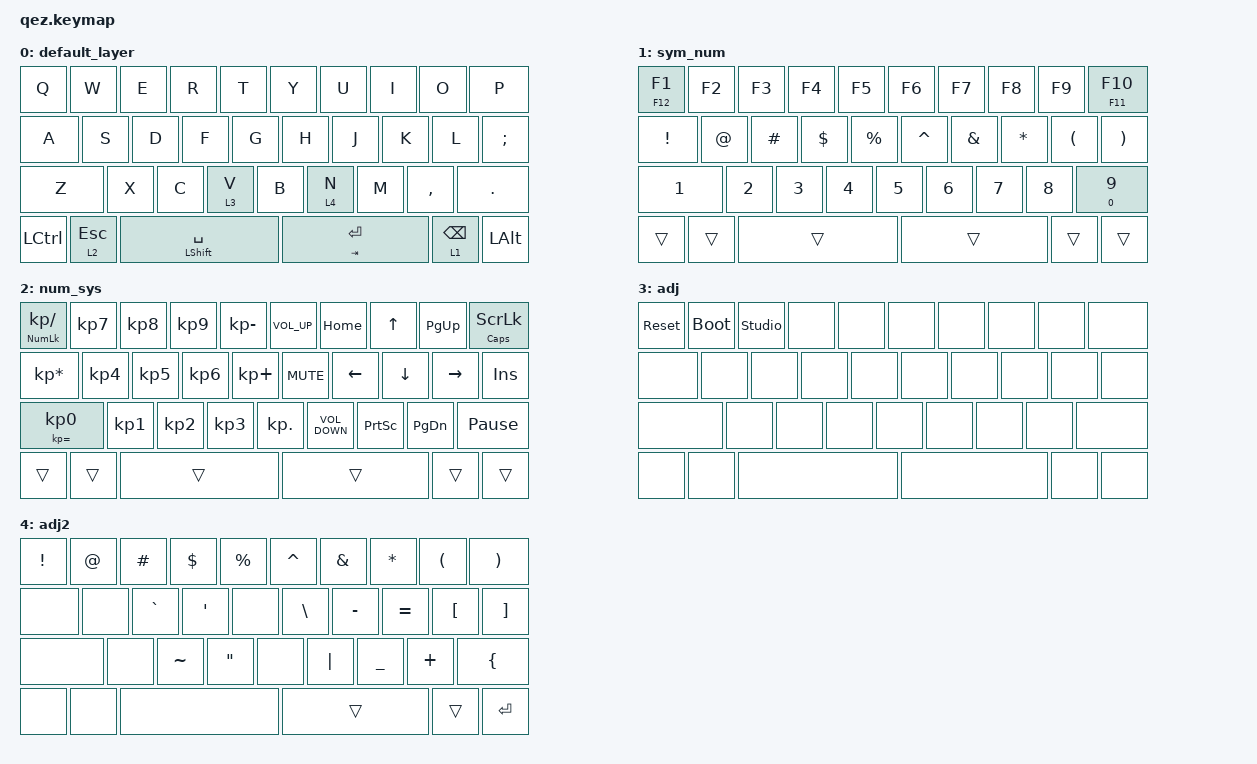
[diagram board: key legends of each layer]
#include <behaviors.dtsi>
#include <dt-bindings/zmk/keys.h>

#define DEFAULT 0
#define NUM_SYM 1
#define NAV     2
#define NUM     3
#define SYM     4

/ {
    combos { compatible = "zmk,combos"; };

    keymap {
        compatible = "zmk,keymap";

        default_layer {
            bindings = <
  &kp Q      &kp W  &kp E         &kp R  &kp T                 &kp Y  &kp U          &kp I            &kp O      &kp P
  &kp A      &kp S  &kp D         &kp F  &kp G                 &kp H  &kp J          &kp K            &kp L      &kp SEMI
  &kp Z             &kp X         &kp C  &lt 3 V               &kp B  &lt 4 N        &kp M            &kp COMMA  &kp DOT
  &kp LCTRL         &lt 2 ESCAPE         &mt LEFT_SHIFT SPACE         &mt TAB ENTER  &lt 1 BACKSPACE             &kp LALT
            >;
        };

        sym_num {
            bindings = <
  &mt F12 F1  &kp F2  &kp F3    &kp F4      &kp F5       &kp F6     &kp F7         &kp F8        &kp F9                &mt F11 F10
  &kp EXCL    &kp AT  &kp HASH  &kp DOLLAR  &kp PERCENT  &kp CARET  &kp AMPERSAND  &kp ASTERISK  &kp LEFT_PARENTHESIS  &kp RIGHT_PARENTHESIS
  &kp N1              &kp N2    &kp N3      &kp N4       &kp N5     &kp N6         &kp N7        &kp N8                &mt N0 N9
  &trans              &trans                &trans                  &trans         &trans                              &trans
            >;
        };

        num_sys {
            bindings = <
  &mt KP_NUMLOCK KP_SLASH   &kp KP_NUMBER_7  &kp KP_NUMBER_8  &kp KP_NUMBER_9  &kp KP_MINUS     &kp C_VOLUME_UP  &kp HOME           &kp UP          &kp PAGE_UP    &mt CAPSLOCK SCROLLLOCK
  &kp KP_MULTIPLY           &kp KP_NUMBER_4  &kp KP_NUMBER_5  &kp KP_NUMBER_6  &kp KP_PLUS      &kp C_MUTE       &kp LEFT           &kp DOWN_ARROW  &kp RIGHT      &kp INSERT
  &mt KP_EQUAL KP_NUMBER_0                   &kp KP_NUMBER_1  &kp KP_NUMBER_2  &kp KP_NUMBER_3  &kp KP_DOT       &kp C_VOLUME_DOWN  &kp PSCRN       &kp PAGE_DOWN  &kp PAUSE_BREAK
  &trans                                     &trans                            &trans                            &trans             &trans                         &trans
            >;
        };

        adj {
            bindings = <
  &sys_reset  &bootloader  &studio_unlock  &none  &none  &none  &none  &none  &none  &none
  &none       &none        &none           &none  &none  &none  &none  &none  &none  &none
  &none                    &none           &none  &none  &none  &none  &none  &none  &none
  &none                    &none                  &none         &none  &none         &none
            >;
        };

        adj2 {
            bindings = <
  &kp EXCL  &kp AT  &kp HASH   &kp DOLLAR  &kp PERCENT  &kp CARET      &kp AMPERSAND  &kp ASTERISK  &kp LPAR          &kp RPAR
  &none     &none   &kp GRAVE  &kp SQT     &none        &kp BACKSLASH  &kp MINUS      &kp EQUAL     &kp LEFT_BRACKET  &kp RIGHT_BRACKET
  &none             &none      &kp TILDE   &kp DQT      &none          &kp PIPE       &kp UNDER     &kp PLUS          &kp LEFT_BRACE
  &none             &none                  &none                       &trans         &trans                          &kp RET
            >;
        };
    };

    conditional_layers {
        compatible = "zmk,conditional-layers";

        adj {
            if-layers = <1 2>;
            then-layer = <3>;
        };

        adj {
            if-layers = <3>;
            then-layer = <3>;
        };

        adj2 {
            if-layers = <4>;
            then-layer = <4>;
        };
    };
};
